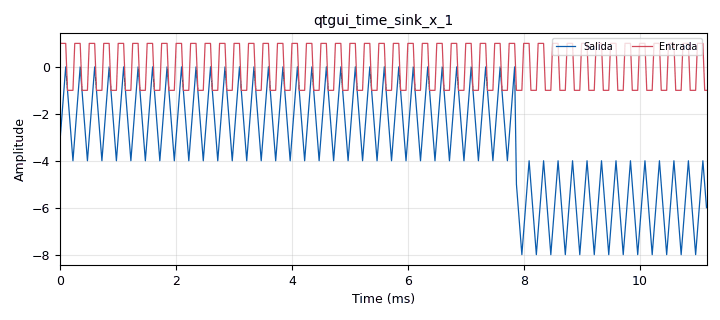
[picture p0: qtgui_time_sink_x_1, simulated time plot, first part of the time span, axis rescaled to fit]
options:
  parameters:
    generate_options: qt_gui
    id: acumulador
    output_language: python
    title: Not titled yet
  states: {}

blocks:
- name: samp_rate
  id: variable
  parameters:
    value: '32000'
  states: {}
- name: blocks_vector_source_x_0
  id: blocks_vector_source_x
  parameters:
    repeat: 'True'
    type: float
    vector: (1,1,1,1,-1,-1,-1,-1)
  states: {state: disabled}
- name: blocks_vector_source_x_1
  id: blocks_vector_source_x
  parameters:
    repeat: 'True'
    type: float
    vector: (1,1,1,1,-1,-1,-1,-1)
  states: {}
- name: epy_block_0
  id: epy_block
  parameters:
    _source_code: "\n\nimport numpy as np\nfrom gnuradio import gr\nclass blk (gr. sync_block ):\n    def __init__ ( self ) : \n        gr. sync_block . __init__ (\n            self ,\n            name =\"e_Acum\",\n            in_sig =[ np. float32 ],\n            out_sig =[ np. float32 ]\n        )\n\n    def work (self , input_items , output_items ):\n        x = input_items [0] \n        y0 = output_items [0] \n        y0 [:] = np. cumsum (x)\n        return len (y0)"
  states: {state: disabled}
- name: epy_block_1
  id: epy_block
  parameters:
    _source_code: "import numpy as np\nfrom gnuradio import gr\n\nclass blk (gr. sync_block ):\n    def __init__ ( self ) : # only default arguments here\n        gr. sync_block . __init__ (\n            self,\n            name =\"e_Diff \", # will show up in GRC\n            in_sig =[ np.float32 ],\n            out_sig =[ np.float32 ]\n        )\n        self.acum_anterior = 0\n\n    def work (self , input_items , output_items ):\n        x = input_items [0] # Senial de entrada .\n        y0 = output_items [0] # Senial acumulada diferencial\n        N = len (x)\n        diff = np.cumsum (x) - self.acum_anterior\n        self.acum_anterior += np.sum(x)\n        y0 [:] = diff\n        return len (y0)\n\n\n"
  states: {}
- name: qtgui_time_sink_x_0
  id: qtgui_time_sink_x
  parameters:
    nconnections: '2'
    size: '1024'
    srate: samp_rate
    type: float
  states: {state: disabled}
- name: qtgui_time_sink_x_1
  id: qtgui_time_sink_x
  parameters:
    label1: Salida
    label2: Entrada
    nconnections: '2'
    size: '1024'
    srate: samp_rate
    type: float
  states: {}

connections:
- [blocks_vector_source_x_0, '0', epy_block_0, '0']
- [blocks_vector_source_x_0, '0', qtgui_time_sink_x_0, '1']
- [blocks_vector_source_x_1, '0', epy_block_1, '0']
- [blocks_vector_source_x_1, '0', qtgui_time_sink_x_1, '1']
- [epy_block_0, '0', qtgui_time_sink_x_0, '0']
- [epy_block_1, '0', qtgui_time_sink_x_1, '0']

metadata:
  file_format: 1
  grc_version: v3.10.11.0-89-ga17f69e7
